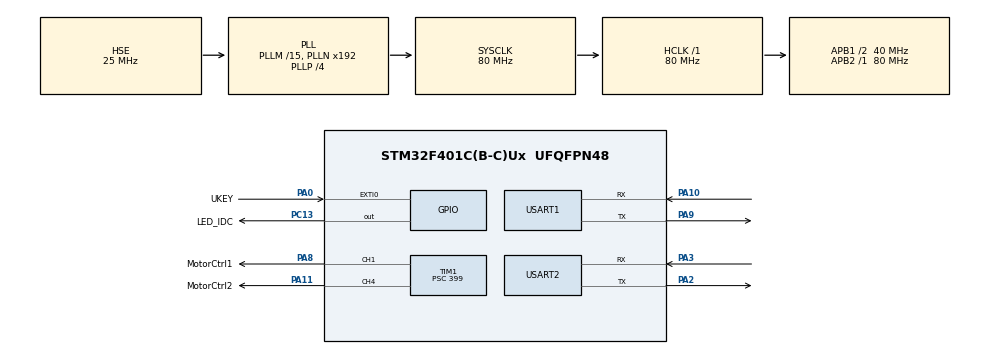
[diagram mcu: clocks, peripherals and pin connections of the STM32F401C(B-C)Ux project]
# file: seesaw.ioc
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Mcu.Family=STM32F4
Mcu.Name=STM32F401C(B-C)Ux
Mcu.Package=UFQFPN48
NVIC.EXTI0_IRQn=true\:4\:0\:true\:false\:true\:true\:true
NVIC.PriorityGroup=NVIC_PRIORITYGROUP_4
NVIC.USART1_IRQn=true\:1\:0\:true\:false\:true\:true\:true
NVIC.USART2_IRQn=true\:1\:0\:true\:false\:true\:true\:true
PA0-WKUP.GPIO_Label=UKEY
PA0-WKUP.GPIO_ModeDefaultEXTI=GPIO_MODE_IT_RISING_FALLING
PA0-WKUP.GPIO_PuPd=GPIO_PULLUP
PA0-WKUP.Signal=GPXTI0
PA10.Mode=Asynchronous
PA10.Signal=USART1_RX
PA11.GPIO_Label=MotorCtrl2
PA11.Signal=S_TIM1_CH4
PA2.Mode=Asynchronous
PA2.Signal=USART2_TX
PA3.Mode=Asynchronous
PA3.Signal=USART2_RX
PA8.GPIO_Label=MotorCtrl1
PA8.Signal=S_TIM1_CH1
PA9.Mode=Asynchronous
PA9.Signal=USART1_TX
PC13-ANTI_TAMP.GPIO_Label=LED_IDC
PC13-ANTI_TAMP.Signal=GPIO_Output
PH0\ -\ OSC_IN.Mode=HSE-External-Oscillator
PH0\ -\ OSC_IN.Signal=RCC_OSC_IN
PH1\ -\ OSC_OUT.Mode=HSE-External-Oscillator
PH1\ -\ OSC_OUT.Signal=RCC_OSC_OUT
ProjectManager.HeapSize=0x200
ProjectManager.StackSize=0x400
ProjectManager.TargetToolchain=Makefile
RCC.48MHZClocksFreq_Value=80000000
RCC.AHBFreq_Value=80000000
RCC.APB1CLKDivider=RCC_HCLK_DIV2
RCC.APB1Freq_Value=40000000
RCC.APB1TimFreq_Value=80000000
RCC.APB2Freq_Value=80000000
RCC.APB2TimFreq_Value=80000000
RCC.CortexFreq_Value=80000000
RCC.HCLKFreq_Value=80000000
RCC.HSE_VALUE=25000000
RCC.HSI_VALUE=16000000
RCC.LSE_VALUE=32768
RCC.PLLM=15
RCC.PLLP=RCC_PLLP_DIV4
RCC.PLLSourceVirtual=RCC_PLLSOURCE_HSE
RCC.SYSCLKFreq_VALUE=80000000
RCC.SYSCLKSource=RCC_SYSCLKSOURCE_PLLCLK
RCC.VCOOutputFreq_Value=320000000
SH.S_TIM1_CH1.0=TIM1_CH1,PWM Generation1 CH1
SH.S_TIM1_CH4.0=TIM1_CH4,PWM Generation4 CH4
TIM1.Channel-PWM\ Generation1\ CH1=TIM_CHANNEL_1
TIM1.Channel-PWM\ Generation4\ CH4=TIM_CHANNEL_4
TIM1.ClockDivision=TIM_CLOCKDIVISION_DIV4
TIM1.Period=3999
TIM1.Prescaler=399
TIM1.Pulse-PWM\ Generation1\ CH1=100
TIM1.Pulse-PWM\ Generation4\ CH4=500
USART1.VirtualMode=VM_ASYNC
USART2.VirtualMode=VM_ASYNC
VP_TIM1_VS_ClockSourceINT.Mode=Internal
board=custom

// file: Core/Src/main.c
/* USER CODE BEGIN Header */
/**
  ******************************************************************************
  * @file           : main.c
  * @brief          : Main program body
  ******************************************************************************
  * @attention
  *
  * <h2><center>&copy; Copyright (c) 2021 STMicroelectronics.
  * All rights reserved.</center></h2>
  *
  * This software component is licensed by ST under BSD 3-Clause license,
  * the "License"; You may not use this file except in compliance with the
  * License. You may obtain a copy of the License at:
  *                        opensource.org/licenses/BSD-3-Clause
  *
  ******************************************************************************
  */
/* USER CODE END Header */
#include "main.h"

/* USER CODE BEGIN Includes */
#include <stdio.h>
#include <math.h>
/* USER CODE END Includes */

/* USER CODE BEGIN PD */
#define GY_ACC 0x15
#define GY_RO  0x25
#define GY_MG  0x35
#define GY_EUR 0x45
#define GY_4P  0x65
#define GY_ACF 0x75
#define GY_RNG 0x85

#define GY_T_ACC "\xa5\x15\xba"
#define GY_T_RO  "\xa5\x25\xca"
#define GY_T_MG  "\xa5\x35\xda"
#define GY_T_EUR "\xa5\x45\xea"
#define GY_T_4P  "\xa5\x65\x0a"

#define GY_G_RO  "\xa5\xd5\x7a"
#define GY_G_MG  "\xa5\xe5\x8a"
#define GY_G_EUR "\xa5\x95\x3a"

#define GY_FIX_ACC "\xa5\x57\xfc"
#define GY_FIX_MG  "\xa5\x58\xfd"

#define GY_SPED_50 "\xa5\xa4\x49"

#define CMD_FRNT  '^'
#define CMD_BACK  'v'
#define CMD_LEFT  '<'
#define CMD_RGHT  '>'
#define CMD_STAT  '#'
#define CMD_STOP  '-'
#define CMD_LOCK  '+'

#define RO_RATE CIRCLE_TICKS

#define CALC_SPEED_PIHEDGE 16

#define PID_KP 0.04f
#define PID_KI 0.0f
#define PID_KD 0.09f
#define PID_KPS 0.03f
#define PID_KIS 0.0f
#define PID_KDS 0.08f
/* USER CODE END PD */

TIM_HandleTypeDef htim1;

UART_HandleTypeDef huart1;
UART_HandleTypeDef huart2;

/* USER CODE BEGIN PV */
uint8_t     USART1_SendBuff[USART1_SEND_LEN_MAX];
uint8_t     USART1_RecvBuff[USART1_RECV_LEN_MAX];
uint8_t     UserRecvBuff1[USART1_RECV_LEN_MAX];

uint8_t     USART2_SendBuff[USART2_SEND_LEN_MAX];
uint8_t     USART2_RecvBuff[USART2_RECV_LEN_MAX];
//uint8_t     UserRecvBuff2[USART2_RECV_LEN_MAX];

/**********GY953的相关变量*********/
/*
int16_t   AccX       = 0;		//加速度值
int16_t   AccY       = 0;
int16_t   AccZ       = 0;

int16_t   GyroX      = 0;		//陀螺仪值
// y 小于 0 说明有向下转动的角加速度
int16_t   GyroY      = 0;
int16_t   GyroZ      = 0;

int16_t   MgX	    	 = 0;   //地磁计值
int16_t   MgY        = 0;
int16_t   MgZ        = 0;

int16_t   Roll       = 0;		//欧拉角值*100
*/
// pitch 小于 0 说明向下倾斜
//int16_t   Pitch      = 0;
//int16_t   Yaw        = 0;

BTSTAT bs;
int16_t speed1 = 50, speed2 = 24, tick = CIRCLE_TICKS-64, eurcntr = 0;
uint8_t isunstable = 0, isinpid = 0, isinit = 0;
static uint8_t isonexit = 0, isindiradj = 1;
static int16_t pmid = 0, pgnd = 0, ymid = 0, prevp = 0;
/* USER CODE END PV */

void SystemClock_Config(void);
static void MX_GPIO_Init(void);
static void MX_TIM1_Init(void);
static void MX_USART1_UART_Init(void);
static void MX_USART2_UART_Init(void);
/* USER CODE BEGIN PFP */
static int16_t Calc_PID(int16_t y);
static int Calc_Speed(int16_t y);
static int Calc_Direction(int16_t z);
/* USER CODE END PFP */

int main(void)
{

  /* MCU Configuration--------------------------------------------------------*/

  /* Reset of all peripherals, Initializes the Flash interface and the Systick. */
  HAL_Init();

  /* Configure the system clock */
  SystemClock_Config();

  /* Initialize all configured peripherals */
  MX_GPIO_Init();
  MX_TIM1_Init();
  MX_USART1_UART_Init();
  MX_USART2_UART_Init();
  /* USER CODE BEGIN 2 */
  HAL_TIM_PWM_Start(&htim1, TIM_CHANNEL_1);
  HAL_TIM_PWM_Start(&htim1, TIM_CHANNEL_4);

  // UART1 串口1 开启接收中断，存到USART1_RecvBuff中，最大长度为 USART1_RECV_LEN_MAX
  // 即，接收了 USART1_RECV_LEN_MAX 个数据之后，产生中断
  // 中断将会触发 HAL_UART_RxCpltCallback 串口接收中断处理函数
  HAL_UART_Receive_IT(&huart1, (uint8_t *)USART1_RecvBuff, USART1_RECV_LEN_MAX);
  // UART2 串口2 同理
  HAL_UART_Receive_IT(&huart2, (uint8_t *)USART2_RecvBuff, USART2_RECV_LEN_MAX);

  MotoCtrl_SetValue(0, MOTOR_ALL);
  HAL_Delay(1024);
  GY_UART_Init();
  /* USER CODE END 2 */

  /* Infinite loop */
  while (1) {

    /* USER CODE BEGIN 3 */
    __WFI();
  }
  /* USER CODE END 3 */
}

void SystemClock_Config(void)
{
  RCC_OscInitTypeDef RCC_OscInitStruct = {0};
  RCC_ClkInitTypeDef RCC_ClkInitStruct = {0};

  /** Configure the main internal regulator output voltage
  */
  __HAL_RCC_PWR_CLK_ENABLE();
  __HAL_PWR_VOLTAGESCALING_CONFIG(PWR_REGULATOR_VOLTAGE_SCALE2);
  /** Initializes the RCC Oscillators according to the specified parameters
  * in the RCC_OscInitTypeDef structure.
  */
  RCC_OscInitStruct.OscillatorType = RCC_OSCILLATORTYPE_HSE;
  RCC_OscInitStruct.HSEState = RCC_HSE_ON;
  RCC_OscInitStruct.PLL.PLLState = RCC_PLL_ON;
  RCC_OscInitStruct.PLL.PLLSource = RCC_PLLSOURCE_HSE;
  RCC_OscInitStruct.PLL.PLLM = 15;
  RCC_OscInitStruct.PLL.PLLN = 192;
  RCC_OscInitStruct.PLL.PLLP = RCC_PLLP_DIV4;
  RCC_OscInitStruct.PLL.PLLQ = 4;
  if (HAL_RCC_OscConfig(&RCC_OscInitStruct) != HAL_OK)
  {
    Error_Handler();
  }
  /** Initializes the CPU, AHB and APB buses clocks
  */
  RCC_ClkInitStruct.ClockType = RCC_CLOCKTYPE_HCLK|RCC_CLOCKTYPE_SYSCLK
                              |RCC_CLOCKTYPE_PCLK1|RCC_CLOCKTYPE_PCLK2;
  RCC_ClkInitStruct.SYSCLKSource = RCC_SYSCLKSOURCE_PLLCLK;
  RCC_ClkInitStruct.AHBCLKDivider = RCC_SYSCLK_DIV1;
  RCC_ClkInitStruct.APB1CLKDivider = RCC_HCLK_DIV2;
  RCC_ClkInitStruct.APB2CLKDivider = RCC_HCLK_DIV1;

  if (HAL_RCC_ClockConfig(&RCC_ClkInitStruct, FLASH_LATENCY_2) != HAL_OK)
  {
    Error_Handler();
  }
}

static void MX_TIM1_Init(void)
{

  TIM_ClockConfigTypeDef sClockSourceConfig = {0};
  TIM_MasterConfigTypeDef sMasterConfig = {0};
  TIM_OC_InitTypeDef sConfigOC = {0};
  TIM_BreakDeadTimeConfigTypeDef sBreakDeadTimeConfig = {0};

  htim1.Instance = TIM1;
  htim1.Init.Prescaler = 399;
  htim1.Init.CounterMode = TIM_COUNTERMODE_UP;
  htim1.Init.Period = 3999;
  htim1.Init.ClockDivision = TIM_CLOCKDIVISION_DIV4;
  htim1.Init.RepetitionCounter = 0;
  htim1.Init.AutoReloadPreload = TIM_AUTORELOAD_PRELOAD_DISABLE;
  if (HAL_TIM_Base_Init(&htim1) != HAL_OK)
  {
    Error_Handler();
  }
  sClockSourceConfig.ClockSource = TIM_CLOCKSOURCE_INTERNAL;
  if (HAL_TIM_ConfigClockSource(&htim1, &sClockSourceConfig) != HAL_OK)
  {
    Error_Handler();
  }
  if (HAL_TIM_PWM_Init(&htim1) != HAL_OK)
  {
    Error_Handler();
  }
  sMasterConfig.MasterOutputTrigger = TIM_TRGO_RESET;
  sMasterConfig.MasterSlaveMode = TIM_MASTERSLAVEMODE_DISABLE;
  if (HAL_TIMEx_MasterConfigSynchronization(&htim1, &sMasterConfig) != HAL_OK)
  {
    Error_Handler();
  }
  sConfigOC.OCMode = TIM_OCMODE_PWM1;
  sConfigOC.Pulse = 100;
  sConfigOC.OCPolarity = TIM_OCPOLARITY_HIGH;
  sConfigOC.OCNPolarity = TIM_OCNPOLARITY_HIGH;
  sConfigOC.OCFastMode = TIM_OCFAST_DISABLE;
  sConfigOC.OCIdleState = TIM_OCIDLESTATE_RESET;
  sConfigOC.OCNIdleState = TIM_OCNIDLESTATE_RESET;
  if (HAL_TIM_PWM_ConfigChannel(&htim1, &sConfigOC, TIM_CHANNEL_1) != HAL_OK)
  {
    Error_Handler();
  }
  sConfigOC.Pulse = 500;
  if (HAL_TIM_PWM_ConfigChannel(&htim1, &sConfigOC, TIM_CHANNEL_4) != HAL_OK)
  {
    Error_Handler();
  }
  sBreakDeadTimeConfig.OffStateRunMode = TIM_OSSR_DISABLE;
  sBreakDeadTimeConfig.OffStateIDLEMode = TIM_OSSI_DISABLE;
  sBreakDeadTimeConfig.LockLevel = TIM_LOCKLEVEL_OFF;
  sBreakDeadTimeConfig.DeadTime = 0;
  sBreakDeadTimeConfig.BreakState = TIM_BREAK_DISABLE;
  sBreakDeadTimeConfig.BreakPolarity = TIM_BREAKPOLARITY_HIGH;
  sBreakDeadTimeConfig.AutomaticOutput = TIM_AUTOMATICOUTPUT_DISABLE;
  if (HAL_TIMEx_ConfigBreakDeadTime(&htim1, &sBreakDeadTimeConfig) != HAL_OK)
  {
    Error_Handler();
  }
  HAL_TIM_MspPostInit(&htim1);

}

static void MX_USART1_UART_Init(void)
{

  huart1.Instance = USART1;
  huart1.Init.BaudRate = 115200;
  huart1.Init.WordLength = UART_WORDLENGTH_8B;
  huart1.Init.StopBits = UART_STOPBITS_1;
  huart1.Init.Parity = UART_PARITY_NONE;
  huart1.Init.Mode = UART_MODE_TX_RX;
  huart1.Init.HwFlowCtl = UART_HWCONTROL_NONE;
  huart1.Init.OverSampling = UART_OVERSAMPLING_16;
  if (HAL_UART_Init(&huart1) != HAL_OK)
  {
    Error_Handler();
  }

}

static void MX_USART2_UART_Init(void)
{

  huart2.Instance = USART2;
  huart2.Init.BaudRate = 115200;
  huart2.Init.WordLength = UART_WORDLENGTH_8B;
  huart2.Init.StopBits = UART_STOPBITS_1;
  huart2.Init.Parity = UART_PARITY_NONE;
  huart2.Init.Mode = UART_MODE_TX_RX;
  huart2.Init.HwFlowCtl = UART_HWCONTROL_NONE;
  huart2.Init.OverSampling = UART_OVERSAMPLING_16;
  if (HAL_UART_Init(&huart2) != HAL_OK)
  {
    Error_Handler();
  }

}

static void MX_GPIO_Init(void)
{
  GPIO_InitTypeDef GPIO_InitStruct = {0};

  /* GPIO Ports Clock Enable */
  __HAL_RCC_GPIOC_CLK_ENABLE();
  __HAL_RCC_GPIOH_CLK_ENABLE();
  __HAL_RCC_GPIOA_CLK_ENABLE();

  /*Configure GPIO pin Output Level */
  HAL_GPIO_WritePin(LED_IDC_GPIO_Port, LED_IDC_Pin, GPIO_PIN_RESET);

  /*Configure GPIO pin : LED_IDC_Pin */
  GPIO_InitStruct.Pin = LED_IDC_Pin;
  GPIO_InitStruct.Mode = GPIO_MODE_OUTPUT_PP;
  GPIO_InitStruct.Pull = GPIO_NOPULL;
  GPIO_InitStruct.Speed = GPIO_SPEED_FREQ_LOW;
  HAL_GPIO_Init(LED_IDC_GPIO_Port, &GPIO_InitStruct);

  /*Configure GPIO pin : UKEY_Pin */
  GPIO_InitStruct.Pin = UKEY_Pin;
  GPIO_InitStruct.Mode = GPIO_MODE_IT_RISING_FALLING;
  GPIO_InitStruct.Pull = GPIO_PULLUP;
  HAL_GPIO_Init(UKEY_GPIO_Port, &GPIO_InitStruct);

  /* EXTI interrupt init*/
  HAL_NVIC_SetPriority(EXTI0_IRQn, 4, 0);
  HAL_NVIC_EnableIRQ(EXTI0_IRQn);

}

/* USER CODE BEGIN 4 */
/* ！！！！！！！！务必在  USER CODE BEGIN  和 USER CODE END 之间添加用户程序！！！！！！！！*/
/* ！！！！！！！！！而且不要改动   USER CODE BEGIN 4   之类的标记！！！！！！！！！！！！！*/
//
// MotoCtrl_SetValue 圆周舵机的转速控制设置函数
//
// value 转速设置值，-200 ~ 200，大约在 0 左右转速为 0
//       正转，反转
//       如果超出 -200 ~ 200 范围，不进行设置
//
// motor 电机号，MOTOR_1 或 MOTOR_2，在main.h中有定义
//       MOTOR_1 用的是htim1的TIM_CHANNEL_1，用 PA8 端口
//       MOTOR_2 用的是htim1的TIM_CHANNEL_4，用 PA11 端口
static TIM_OC_InitTypeDef sConfig = {TIM_OCMODE_PWM1, 0, TIM_OCPOLARITY_HIGH, TIM_OCNPOLARITY_HIGH, TIM_OCFAST_DISABLE, TIM_OCIDLESTATE_RESET, TIM_OCNIDLESTATE_RESET};
void MotoCtrl_SetValue(int16_t value, int16_t motor) {
    // 转速设置范围判断
    if ((value>200)||(value<-200)) return;
    TIM_OC_InitTypeDef sConfigOC = sConfig;

    if ( motor==MOTOR_2 || !~motor ){
      // 实际设置PWM的值是 100 - 500
      sConfigOC.Pulse = value+300;
      HAL_TIM_PWM_Stop(&htim1, TIM_CHANNEL_1);
    	if (HAL_TIM_PWM_ConfigChannel(&htim1, &sConfigOC, TIM_CHANNEL_1) != HAL_OK) Error_Handler();
    	HAL_TIM_PWM_Start(&htim1, TIM_CHANNEL_1);
    }

    if ( motor==MOTOR_1 || !~motor ){
      // 实际设置PWM的值是 100 - 500
      sConfigOC.Pulse = -value+300;
    	HAL_TIM_PWM_Stop(&htim1, TIM_CHANNEL_4);
      if (HAL_TIM_PWM_ConfigChannel(&htim1, &sConfigOC, TIM_CHANNEL_4) != HAL_OK) Error_Handler();
      HAL_TIM_PWM_Start(&htim1, TIM_CHANNEL_4);
    }
}

void GY_UART_Init(void) {
  HAL_UART_Transmit_IT(&huart1,  (uint8_t*)(GY_T_EUR GY_FIX_ACC), sizeof(GY_T_EUR GY_FIX_ACC)-1);
  HAL_UART_Transmit_IT(&huart2, (uint8_t*)"[Init] GY to eur.\n", 18);
}

void GY_UART_Switch(void) {
  HAL_UART_Transmit_IT(&huart1, (uint8_t*)(GY_T_EUR GY_T_RO), sizeof(GY_T_EUR GY_T_RO)-1);
}

void GY_UARTPackage_Unpack(void) {
  static int16_t stables = 0;
  static uint8_t not_frist_init = 0;
  GY953Frame* gf = (GY953Frame*)UserRecvBuff1;
  unsigned char s = 0;
  for(s = 0; s < USART1_RECV_LEN_MAX-5; s++) {
    if(gf->Head != 0x5a5a) gf = (GY953Frame*)(UserRecvBuff1+s);
    else break;
  }
  if(s == USART1_RECV_LEN_MAX-5) return;
  unsigned char* rawd = gf->RawData;
  int16_t speed, tmod;
  char sndbuf[256];
  sndbuf[0] = 0;
  //int16_t X = __builtin_bswap16(*(uint16_t*)(rawd));
  int16_t Y = __builtin_bswap16(*(uint16_t*)(rawd+2));
  int16_t Z = __builtin_bswap16(*(uint16_t*)(rawd+4));
  switch(gf->Type) {
    case GY_ACC:
      //AccX = X; AccY = Y; AccZ = Z;
      //HAL_UART_Transmit_IT(&huart2, (uint8_t*)"recv acc.\n", 10);
    break;
    case GY_RO:
      //GyroX = X; GyroY = Y; GyroZ = Z;
      //HAL_UART_Transmit_IT(&huart2, (uint8_t*)"recv ro.\n", 9);
      if(!isinit) return;
      if(!isinpid) {
        if(Y>RO_RATE||Y<-RO_RATE) {
          stables = 0;
          if(!isunstable) {
            isunstable = 1;
            MotoCtrl_SetValue(0, MOTOR_ALL);
            HAL_UART_Transmit_IT(&huart2, (uint8_t*)"[State] unstable.\n", 18);
            if(!not_frist_init) not_frist_init = 1;
            tick = CIRCLE_TICKS-64;
          }
        } else if(isunstable) {
          if(stables++>64) {
            isunstable = stables =  0;
            HAL_UART_Transmit_IT(&huart2, (uint8_t*)"[State] stable.\n", 16);
          }
        } else if(not_frist_init && !bs.isstarted) {
          tmod = tick++&(CIRCLE_TICKS-1);
          if(tmod==CIRCLE_TICKS>>1) {
            MotoCtrl_SetValue(0, MOTOR_ALL);
            sprintf(sndbuf, "[GyUR] stop motor.\n");
          } else if(tmod==CIRCLE_TICKS-64) {
            GY_UART_Switch();  // 切换到 EUR
            sprintf(sndbuf, "[GyUR] switch to eur.\n");
          }
        }
      }
    break;
    case GY_MG:
      //MgX = X; MgY = Y; MgZ = Z;
      //HAL_UART_Transmit_IT(&huart2, (uint8_t*)"recv mg.\n", 9);
    break;
    case GY_EUR:
      //Roll = X; Pitch = Y; Yaw = Z;
      if(isonexit) {
        if(~isonexit) {
          if(isonexit>64) {
            tmod = Y-pgnd;
            if(tmod>-4&&tmod<4) {
              tmod = 0;
              isonexit = -1;
              speed1 = 50; speed2 = 24;
              MotoCtrl_SetValue(0, MOTOR_ALL);
              sprintf(sndbuf, "[GyUR] program finished.\n");
            }
          } else isonexit++;
        } else HAL_GPIO_TogglePin(LED_IDC_GPIO_Port, LED_IDC_Pin); // 灯闪
      }
      if(!isinit) {
        if(~eurcntr) {
          if(!eurcntr) {
            if(Y) eurcntr++;
          }
          if(eurcntr) {
            if(eurcntr == 64) {
              pmid = Y; ymid = Z;
              sprintf(sndbuf, "[GyUR] init pmid: %d, ymid: %d.\n", Y, Z);
            } else if(eurcntr > 64) {
              pmid = (pmid+Y)/2;
              ymid = (ymid+Z)/2;
            }
            if(eurcntr++>128) {
              pgnd = pmid;
              sprintf(sndbuf, "[GyUR] fin pmid: %d, ymid: %d.\n", pmid, ymid);
              HAL_GPIO_TogglePin(LED_IDC_GPIO_Port, LED_IDC_Pin); // 灯灭
              eurcntr = -1;
            }
          }
        }
      }
      else if(isindiradj) {
        if(Y-pmid>256) { // 抬头
          if(Calc_Direction(Z)) { // 回归正向
            isindiradj = 0;
            GY_UART_Switch(); // 切换到 RO
            sprintf(sndbuf, "[GyUR] quit dir, switch to ro.\n");
          }
          MotoCtrl_SetValue(speed1, MOTOR_1);
          MotoCtrl_SetValue(speed2, MOTOR_2);
        }
      }
      else if(isinpid) {
        speed = Calc_PID(Y);
        if(speed>-8&&speed<8) {
          if(stables++>500) { // 保持 10s
            isinpid = stables = isinit = prevp = 0;
            isonexit = 1;
            speed1 = 50; speed2 = 24;
            MotoCtrl_SetValue(-speed1, MOTOR_1);
            MotoCtrl_SetValue(-speed2, MOTOR_2);
            sprintf(sndbuf, "[GyUR] quit pid, on exit.\n");
          }
          HAL_GPIO_TogglePin(LED_IDC_GPIO_Port, LED_IDC_Pin); // 灯闪
        } else {
          stables = 0;
          sprintf(sndbuf, "[GyUR] speed: %d.\n", speed);
          if(speed>10||speed<-10) {
            MotoCtrl_SetValue(speed, MOTOR_ALL);
          } else {
            MotoCtrl_SetValue(speed+4, MOTOR_1);
            MotoCtrl_SetValue(speed-4, MOTOR_2);
          }
        }
      }
      else if(not_frist_init && !bs.isstarted && !isunstable) {
        tmod = tick++&(CIRCLE_TICKS-1);
        if(!tmod) {
          isinpid = Calc_Speed(Y);
          if(!isinpid) {
            GY_UART_Switch();  // 切换到 RO
            MotoCtrl_SetValue(speed1, MOTOR_1);
            MotoCtrl_SetValue(speed2, MOTOR_2);
            sprintf(sndbuf, "[GyUR] switch to ro.\n");
          } else {
            MotoCtrl_SetValue(0, MOTOR_ALL);
            stables = 0;
            sprintf(sndbuf, "[GyUR] enter into pid.\n");
          }
        }
      }
      //HAL_UART_Transmit_IT(&huart2, (uint8_t*)"recv eur.\n", 10);
    break;
    default: break;
  }
  int sndlen = strlen(sndbuf) + 1;
  if(sndlen > 1) HAL_UART_Transmit_IT(&huart2, (uint8_t*)sndbuf, sndlen);
}

static int16_t Calc_PID(int16_t y) {
  static int16_t prev_dy = 0, int_sum = 0;
  static uint8_t stables = 0;
  int16_t dy = y - pmid, out;
  int_sum += dy;
  if(stables>128) {
    out = PID_KPS*(float)dy + PID_KIS*(float)int_sum + PID_KDS*(float)(dy-prev_dy);
  } else {
    out = PID_KP*(float)dy + PID_KI*(float)int_sum + PID_KD*(float)(dy-prev_dy);
    if(out>=-2&&out<=2) stables++;
    else stables = 0;
  }
  prev_dy = dy;
  return out;
}

static int Calc_Direction(int16_t z) {
  int16_t ds, s1, s2, dz = z-ymid;
  if(dz>-16&&dz<16) {
    speed1 = 50; speed2 = 24;
    return 1;
  }
  if(dz>0) {
    ds = 1.2*sqrt(dz);
    s1 = -ds+20;
    s2 = ds+20;
  } else {
    ds = 1.2*sqrt(-dz);
    s1 = ds+20;
    s2 = -ds+20;
  }
  ds = s1-speed1;
  if(ds>10) speed1 += 10;
  else if(ds<-10) speed1 -= 10;
  ds = s2-speed2;
  if(ds>10) speed2 += 10;
  else if(ds<-10) speed2 -= 10;
  return 0;
}

int Calc_Speed(int16_t y) {
  char sndbuf[256];
  sndbuf[0] = 0;
  if(!prevp) prevp = y;
  else {
    pmid = (prevp+y)/2;
    prevp = y;
    return 1;
  }
  int16_t dp = y-pmid;
  y = 0;
  int16_t d1 = 0, d2 = 0;
  if(dp<-CALC_SPEED_PIHEDGE||dp>CALC_SPEED_PIHEDGE) {
    if(dp > 0) {
      d1=50; d2=24;
    }
    else {
      d1=-50; d2=-24;
    }
  }
  speed1 = d1;
  speed2 = d2;
  sprintf(sndbuf, "[Calc] pmid: %d, dp: %d.\n", pmid, dp);
  int sndlen = strlen(sndbuf) + 1;
  if(sndlen > 1) HAL_UART_Transmit_IT(&huart2, (uint8_t*)sndbuf, sndlen);
  return 0;
}

void Bluetooth_Recv(uint8_t cmd) {
  if(bs.isstarted) {
    switch(cmd) {
      case CMD_FRNT: MotoCtrl_SetValue(bs.speed, MOTOR_ALL); break;
      case CMD_BACK: MotoCtrl_SetValue(-bs.speed, MOTOR_ALL); break;
      case CMD_LEFT: MotoCtrl_SetValue(bs.speed>>1, MOTOR_1); MotoCtrl_SetValue(bs.speed, MOTOR_2); break;
      case CMD_RGHT: MotoCtrl_SetValue(bs.speed, MOTOR_1); MotoCtrl_SetValue(bs.speed>>1, MOTOR_2); break;
      case CMD_STOP: if(bs.cmd != CMD_STOP) MotoCtrl_SetValue(0, MOTOR_ALL); else bs.isstarted = 0; break;
      case CMD_LOCK: bs.islocked = ~bs.islocked; break;
      default: bs.speed = ((int)cmd)<<1; break;
    }
  } else if(cmd == CMD_STAT) {
    bs.isstarted = 1;
    bs.speed = 50;
    MotoCtrl_SetValue(50, MOTOR_ALL);
  }
  bs.cmd = cmd;
}
/* USER CODE END 4 */

void Error_Handler(void)
{
  __disable_irq();
  while (1)
  {
  }
}

/************************ (C) COPYRIGHT STMicroelectronics *****END OF FILE****/
